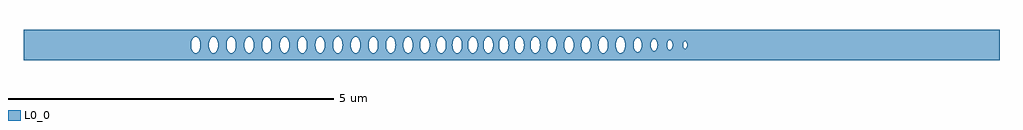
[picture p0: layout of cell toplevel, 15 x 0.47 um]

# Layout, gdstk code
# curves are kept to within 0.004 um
import gdstk
lib = gdstk.Library(unit=1e-6, precision=1e-09)
def P(c, l, *ps):  # polygons
    for p in ps: c.add(gdstk.Polygon(p, *l))
L0_0 = (0, 0)

toplevel = lib.new_cell('toplevel')
P(toplevel, L0_0, [(-4.377,0.032),(-4.363,0.081),(-4.346,0.108),(-4.346,0.234),(-7.5,0.234),(-7.5,-0.016),(-4.925,-0.016),(-4.922,0.039),(-4.909,0.081),(-4.888,0.112),(-4.853,0.128),(-4.826,0.119),(-4.803,0.093),(-4.785,0.047),(-4.781,-0.016),(-4.652,-0.016),(-4.649,0.039),(-4.636,0.081),(-4.615,0.112),(-4.58,0.128),(-4.553,0.119),(-4.53,0.093),(-4.514,0.054),(-4.507,0),(-4.514,-0.054),(-4.53,-0.093),(-4.553,-0.119),(-4.58,-0.128),(-4.606,-0.119),(-4.626,-0.098),(-4.641,-0.068),(-4.652,-0.016),(-4.781,-0.016),(-4.785,-0.047),(-4.803,-0.093),(-4.826,-0.119),(-4.853,-0.128),(-4.879,-0.119),(-4.899,-0.098),(-4.914,-0.068),(-4.925,-0.016),(-7.5,-0.016),(-7.5,-0.234),(-4.346,-0.234),(-4.346,-0.108),(-4.363,-0.081),(-4.376,-0.039)],
  [(-3.691,-0.032),(-3.694,-0.234),(-2.992,-0.234),(-2.992,-0.093),(-3.01,-0.047),(-3.015,-0.008),(-3.01,0.047),(-2.992,0.093),(-2.992,0.234),(-3.694,0.234),(-3.694,0.046),(-3.689,0),(-3.561,0),(-3.554,0.054),(-3.538,0.093),(-3.515,0.119),(-3.488,0.128),(-3.461,0.119),(-3.435,0.087),(-3.419,0.039),(-3.416,0),(-3.288,0),(-3.279,0.061),(-3.254,0.108),(-3.242,0.119),(-3.215,0.128),(-3.189,0.119),(-3.169,0.098),(-3.154,0.068),(-3.145,0.032),(-3.143,-0.018),(-3.162,-0.087),(-3.18,-0.112),(-3.202,-0.125),(-3.215,-0.128),(-3.242,-0.119),(-3.265,-0.093),(-3.283,-0.047),(-3.288,0),(-3.416,0),(-3.419,-0.039),(-3.435,-0.087),(-3.461,-0.119),(-3.488,-0.128),(-3.515,-0.119),(-3.538,-0.093),(-3.554,-0.054),(-3.561,0),(-3.689,0)],
  [(-2.325,-0.024),(-2.335,-0.068),(-2.362,-0.112),(-2.362,-0.234),(-1.662,-0.234),(-1.662,0.234),(-2.362,0.234),(-2.362,0.112),(-2.335,0.068),(-2.324,-0.008),(-2.197,-0.008),(-2.192,0.047),(-2.174,0.093),(-2.151,0.119),(-2.124,0.128),(-2.098,0.119),(-2.071,0.087),(-2.055,0.039),(-2.052,-0.016),(-1.927,-0.016),(-1.922,0.047),(-1.911,0.081),(-1.894,0.108),(-1.882,0.119),(-1.855,0.128),(-1.828,0.119),(-1.796,0.075),(-1.782,0),(-1.796,-0.075),(-1.816,-0.108),(-1.841,-0.125),(-1.868,-0.125),(-1.894,-0.108),(-1.916,-0.068),(-1.927,-0.016),(-2.052,-0.016),(-2.063,-0.068),(-2.078,-0.098),(-2.098,-0.119),(-2.124,-0.128),(-2.151,-0.119),(-2.174,-0.093),(-2.192,-0.047),(-2.197,-0.008),(-2.324,-0.008)],
  [(-1.01,-0.032),(-1.024,-0.081),(-1.045,-0.112),(-1.045,-0.234),(-0.426,-0.234),(-0.426,0.234),(-1.045,0.234),(-1.045,0.112),(-1.019,0.068),(-1.008,-0.008),(-0.907,-0.008),(-0.902,0.047),(-0.884,0.093),(-0.861,0.119),(-0.835,0.128),(-0.808,0.119),(-0.785,0.093),(-0.767,0.047),(-0.763,-0.016),(-0.666,-0.016),(-0.661,0.047),(-0.65,0.081),(-0.633,0.108),(-0.594,0.128),(-0.567,0.119),(-0.535,0.075),(-0.521,0),(-0.535,-0.075),(-0.551,-0.103),(-0.571,-0.121),(-0.594,-0.128),(-0.633,-0.108),(-0.655,-0.068),(-0.666,-0.016),(-0.763,-0.016),(-0.773,-0.068),(-0.788,-0.098),(-0.808,-0.119),(-0.835,-0.128),(-0.861,-0.119),(-0.881,-0.098),(-0.896,-0.068),(-0.907,-0.008),(-1.008,-0.008)],
  [(-0.425,0.039),(-0.412,0.081),(-0.395,0.108),(-0.374,0.123),(-0.351,0.127),(-0.321,0.112),(-0.297,0.075),(-0.287,0.039),(-0.284,-0.008),(-0.191,-0.008),(-0.186,0.047),(-0.168,0.093),(-0.145,0.119),(-0.119,0.128),(-0.092,0.119),(-0.069,0.093),(-0.051,0.047),(-0.046,-0.008),(-0.057,-0.068),(-0.072,-0.098),(-0.092,-0.119),(-0.119,-0.128),(-0.145,-0.119),(-0.165,-0.098),(-0.18,-0.068),(-0.191,-0.008),(-0.284,-0.008),(-0.29,-0.054),(-0.306,-0.093),(-0.329,-0.119),(-0.356,-0.128),(-0.395,-0.108),(-0.412,-0.081),(-0.426,-0.035),(-0.426,-0.234),(0.112,-0.234),(0.112,-0.126),(0.094,-0.119),(0.071,-0.093),(0.053,-0.047),(0.048,-0.008),(0.053,0.047),(0.062,0.075),(0.082,0.108),(0.112,0.126),(0.112,0.234),(-0.426,0.234)],
  [(1.338,0.016),(1.348,0.068),(1.363,0.098),(1.383,0.119),(1.414,0.127),(1.414,0.234),(0.694,0.234),(0.694,-0.008),(0.81,-0.008),(0.815,0.047),(0.833,0.093),(0.856,0.119),(0.883,0.128),(0.917,0.112),(0.941,0.075),(0.953,0.032),(0.954,-0.016),(1.074,-0.016),(1.076,0.032),(1.087,0.075),(1.111,0.112),(1.146,0.128),(1.173,0.119),(1.196,0.093),(1.218,0.016),(1.216,-0.032),(1.205,-0.075),(1.181,-0.112),(1.146,-0.128),(1.119,-0.119),(1.096,-0.093),(1.08,-0.054),(1.074,-0.016),(0.954,-0.016),(0.944,-0.068),(0.929,-0.098),(0.909,-0.119),(0.883,-0.128),(0.856,-0.119),(0.836,-0.098),(0.821,-0.068),(0.81,-0.008),(0.694,-0.008),(0.694,-0.234),(1.414,-0.234),(1.414,-0.127),(1.383,-0.119),(1.36,-0.093),(1.34,-0.039)],
  [(2.145,0.04),(2.161,0.076),(2.179,0.091),(2.195,0.094),(2.214,0.085),(2.232,0.06),(2.243,0.018),(2.243,-0.014),(2.392,-0.014),(2.401,0.049),(2.416,0.07),(2.436,0.077),(2.451,0.07),(2.466,0.049),(2.475,-0.011),(2.637,-0.011),(2.645,0.041),(2.658,0.057),(2.672,0.06),(2.693,0.038),(2.7,-0.008),(2.69,-0.044),(2.672,-0.06),(2.651,-0.051),(2.637,-0.011),(2.475,-0.011),(2.464,-0.053),(2.451,-0.07),(2.436,-0.077),(2.411,-0.065),(2.392,-0.014),(2.243,-0.014),(2.23,-0.064),(2.214,-0.085),(2.195,-0.094),(2.179,-0.091),(2.161,-0.076),(2.141,-0.024),(2.141,-0.234),(7.5,-0.234),(7.5,0.234),(2.141,0.234),(2.141,0.023)],
  [(-4.238,-0.039),(-4.257,-0.093),(-4.28,-0.119),(-4.307,-0.128),(-4.334,-0.119),(-4.346,-0.108),(-4.346,-0.234),(-4.02,-0.234),(-4.02,-0.125),(-4.048,-0.125),(-4.077,-0.103),(-4.093,-0.075),(-4.106,-0.016),(-4.103,0.039),(-4.084,0.093),(-4.061,0.119),(-4.034,0.128),(-4.02,0.125),(-4.02,0.234),(-4.346,0.234),(-4.346,0.108),(-4.334,0.119),(-4.307,0.128),(-4.28,0.119),(-4.264,0.103),(-4.248,0.075),(-4.238,0.039)],
  [(-3.694,-0.047),(-3.702,-0.075),(-3.726,-0.112),(-3.747,-0.125),(-3.775,-0.125),(-3.796,-0.112),(-3.811,-0.093),(-3.825,-0.061),(-3.833,-0.016),(-3.831,0.032),(-3.82,0.075),(-3.8,0.108),(-3.775,0.125),(-3.747,0.125),(-3.726,0.112),(-3.702,0.075),(-3.694,0.047),(-3.694,0.234),(-4.02,0.234),(-4.02,0.125),(-3.999,0.112),(-3.984,0.093),(-3.968,0.054),(-3.962,0.016),(-3.964,-0.032),(-3.975,-0.075),(-3.995,-0.108),(-4.02,-0.125),(-4.02,-0.234),(-3.694,-0.234)],
  [(-2.872,-0.032),(-2.886,-0.081),(-2.916,-0.119),(-2.942,-0.128),(-2.956,-0.125),(-2.977,-0.112),(-2.992,-0.093),(-2.992,-0.234),(-2.683,-0.234),(-2.683,-0.125),(-2.704,-0.112),(-2.719,-0.093),(-2.737,-0.047),(-2.742,-0.008),(-2.737,0.047),(-2.728,0.075),(-2.708,0.108),(-2.683,0.125),(-2.683,0.234),(-2.992,0.234),(-2.992,0.093),(-2.969,0.119),(-2.942,0.128),(-2.903,0.108),(-2.886,0.081),(-2.873,0.039)],
  [(-2.674,0.127),(-2.643,0.119),(-2.62,0.093),(-2.6,0.039),(-2.597,-0.008),(-2.608,-0.068),(-2.623,-0.098),(-2.651,-0.123),(-2.683,-0.125),(-2.683,-0.234),(-2.362,-0.234),(-2.362,-0.112),(-2.396,-0.128),(-2.431,-0.112),(-2.458,-0.068),(-2.469,-0.008),(-2.458,0.068),(-2.435,0.108),(-2.423,0.119),(-2.396,0.128),(-2.362,0.112),(-2.362,0.234),(-2.683,0.234),(-2.683,0.125)],
  [(-1.52,-0.032),(-1.544,-0.098),(-1.564,-0.119),(-1.59,-0.128),(-1.617,-0.119),(-1.637,-0.098),(-1.652,-0.068),(-1.662,-0.026),(-1.662,-0.234),(-1.363,-0.234),(-1.363,-0.115),(-1.391,-0.075),(-1.404,-0.016),(-1.398,0.054),(-1.382,0.093),(-1.363,0.115),(-1.363,0.234),(-1.662,0.234),(-1.662,0.024),(-1.652,0.068),(-1.629,0.108),(-1.604,0.125),(-1.577,0.125),(-1.552,0.108),(-1.529,0.068),(-1.519,0.024)],
  [(-1.354,0.121),(-1.332,0.128),(-1.318,0.125),(-1.297,0.112),(-1.282,0.093),(-1.263,0.039),(-1.26,-0.016),(-1.273,-0.075),(-1.297,-0.112),(-1.332,-0.128),(-1.363,-0.115),(-1.363,-0.234),(-1.045,-0.234),(-1.045,-0.112),(-1.08,-0.128),(-1.115,-0.112),(-1.139,-0.075),(-1.153,-0.008),(-1.144,0.061),(-1.119,0.108),(-1.107,0.119),(-1.08,0.128),(-1.045,0.112),(-1.045,0.234),(-1.363,0.234),(-1.363,0.115)],
  [(0.192,-0.024),(0.182,-0.068),(0.167,-0.098),(0.147,-0.119),(0.112,-0.126),(0.112,-0.234),(0.413,-0.234),(0.413,-0.098),(0.38,-0.125),(0.366,-0.128),(0.34,-0.119),(0.32,-0.098),(0.305,-0.068),(0.294,-0.008),(0.305,0.068),(0.332,0.112),(0.366,0.128),(0.393,0.119),(0.413,0.098),(0.413,0.234),(0.112,0.234),(0.112,0.126),(0.147,0.119),(0.17,0.093),(0.19,0.039)],
  [(0.694,-0.008),(0.689,-0.047),(0.671,-0.093),(0.648,-0.119),(0.621,-0.128),(0.595,-0.119),(0.575,-0.098),(0.56,-0.068),(0.549,-0.016),(0.552,0.039),(0.565,0.081),(0.586,0.112),(0.621,0.128),(0.648,0.119),(0.671,0.093),(0.689,0.047),(0.694,0.008),(0.694,0.234),(0.413,0.234),(0.413,0.098),(0.428,0.068),(0.439,0.008),(0.434,-0.047),(0.413,-0.098),(0.413,-0.234),(0.694,-0.234)],
  [(1.478,-0.039),(1.468,-0.075),(1.452,-0.103),(1.436,-0.119),(1.414,-0.127),(1.414,-0.234),(1.725,-0.234),(1.725,-0.093),(1.71,-0.112),(1.689,-0.125),(1.675,-0.128),(1.649,-0.119),(1.629,-0.098),(1.614,-0.068),(1.603,-0.008),(1.614,0.068),(1.629,0.098),(1.649,0.119),(1.675,0.128),(1.689,0.125),(1.71,0.112),(1.725,0.093),(1.725,0.234),(1.414,0.234),(1.414,0.127),(1.444,0.112),(1.468,0.075),(1.482,0.008)],
  [(1.746,-0.032),(1.725,-0.093),(1.725,-0.234),(2.141,-0.234),(2.141,0.234),(1.725,0.234),(1.725,0.093),(1.743,0.047),(1.747,-0.014),(1.877,-0.014),(1.881,0.041),(1.891,0.071),(1.916,0.103),(1.939,0.111),(1.962,0.103),(1.982,0.081),(2.001,0.014),(1.997,-0.041),(1.987,-0.071),(1.966,-0.1),(1.947,-0.11),(1.927,-0.109),(1.899,-0.085),(1.881,-0.041),(1.877,-0.014),(1.747,-0.014)])

lib.write_gds('toplevel.gds')
